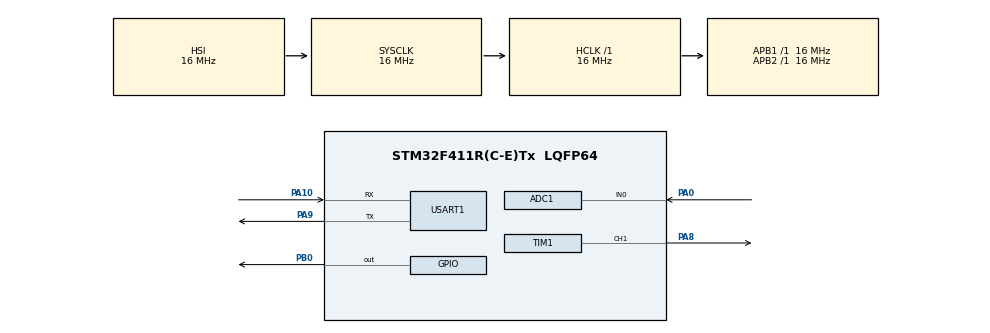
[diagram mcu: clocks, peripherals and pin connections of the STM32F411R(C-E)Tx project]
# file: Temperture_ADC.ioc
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ADC1.Channel-0\#ChannelRegularConversion=ADC_CHANNEL_0
ADC1.NbrOfConversionFlag=1
ADC1.Rank-0\#ChannelRegularConversion=1
ADC1.SamplingTime-0\#ChannelRegularConversion=ADC_SAMPLETIME_3CYCLES
ADC1.master=1
Mcu.Family=STM32F4
Mcu.Name=STM32F411R(C-E)Tx
Mcu.Package=LQFP64
NVIC.PriorityGroup=NVIC_PRIORITYGROUP_4
NVIC.USART1_IRQn=true\:0\:0\:false\:false\:true\:true\:true\:true
PA0-WKUP.Signal=ADCx_IN0
PA10.Mode=Asynchronous
PA10.Signal=USART1_RX
PA8.Signal=S_TIM1_CH1
PA9.Mode=Asynchronous
PA9.Signal=USART1_TX
PB0.Signal=GPIO_Output
ProjectManager.HeapSize=0x200
ProjectManager.StackSize=0x400
ProjectManager.TargetToolchain=STM32CubeIDE
RCC.AHBFreq_Value=16000000
RCC.APB1Freq_Value=16000000
RCC.APB2Freq_Value=16000000
RCC.CortexFreq_Value=16000000
RCC.HSE_VALUE=25000000
RCC.HSI_VALUE=16000000
RCC.LSE_VALUE=32768
RCC.SYSCLKFreq_VALUE=16000000
RCC.VCOOutputFreq_Value=192000000
SH.ADCx_IN0.0=ADC1_IN0,IN0
SH.S_TIM1_CH1.0=TIM1_CH1,PWM Generation1 CH1
TIM1.Channel-PWM\ Generation1\ CH1=TIM_CHANNEL_1
TIM1.Period=999
TIM1.Prescaler=15
USART1.VirtualMode=VM_ASYNC
board=custom

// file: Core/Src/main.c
/* USER CODE BEGIN Header */
/**
  ******************************************************************************
  * @file           : main.c
  * @brief          : Main program body
  ******************************************************************************
  * @attention
  *
  * Copyright (c) 2023 STMicroelectronics.
  * All rights reserved.
  *
  * This software is licensed under terms that can be found in the LICENSE file
  * in the root directory of this software component.
  * If no LICENSE file comes with this software, it is provided AS-IS.
  *
  ******************************************************************************
  */
/* USER CODE END Header */
#include "main.h"

/* USER CODE BEGIN Includes */
#include "uart.h"
#include "filter.h"
/* USER CODE END Includes */

ADC_HandleTypeDef hadc1;

TIM_HandleTypeDef htim1;

UART_HandleTypeDef huart1;

void SystemClock_Config(void);
static void MX_GPIO_Init(void);
static void MX_ADC1_Init(void);
static void MX_USART1_UART_Init(void);
static void MX_TIM1_Init(void);

/* USER CODE BEGIN 0 */
int soundLut[]={131,147,165,175,196,220,247,262}; // 음계 주파수 테이블
void setSound(int freq)  // 소리 함수
{
	htim1.Instance->ARR=1000000/freq-1;  // 주파수 조정
	htim1.Instance->CCR1=htim1.Instance->CNT/2;  //주파수 조정으로 인한 듀티비 재조정
}
/* USER CODE END 0 */

int main(void)
{

  /* MCU Configuration--------------------------------------------------------*/

  /* Reset of all peripherals, Initializes the Flash interface and the Systick. */
  HAL_Init();

  /* Configure the system clock */
  SystemClock_Config();

  /* Initialize all configured peripherals */
  MX_GPIO_Init();
  MX_ADC1_Init();
  MX_USART1_UART_Init();
  MX_TIM1_Init();
  /* USER CODE BEGIN 2 */
  initUart();

  /* USER CODE END 2 */

  /* Infinite loop */
  while (1)
  {

    /* USER CODE BEGIN 3 */
  		HAL_ADC_Start(&hadc1);
  		HAL_ADC_PollForConversion(&hadc1, 1);
  		uint16_t value = HAL_ADC_GetValue(&hadc1);
  		HAL_ADC_Stop(&hadc1);
  		int kalman_value = kalman((double)value);
  		static int up_cnt=0;
  		static int down_cnt=0;

  		/*if(kalman_value > 400)
  			{
  				up_cnt++;
  				HAL_TIM_PWM_Start(&htim1, TIM_CHANNEL_1);;
  			}
  		else
  			{
  				down_cnt++;
  			}
  		if(up_cnt >1 && down_cnt>5)
  			{
  				HAL_TIM_PWM_Stop(&htim1, TIM_CHANNEL_1);
  				HAL_Delay(5000);
  			}*/

  		printf("%d %d %d\n",value,AvgFilter(value),(int)kalman((double)value));
  		HAL_Delay(100);
  }
  /* USER CODE END 3 */
}

void SystemClock_Config(void)
{
  RCC_OscInitTypeDef RCC_OscInitStruct = {0};
  RCC_ClkInitTypeDef RCC_ClkInitStruct = {0};

  /** Configure the main internal regulator output voltage
  */
  __HAL_RCC_PWR_CLK_ENABLE();
  __HAL_PWR_VOLTAGESCALING_CONFIG(PWR_REGULATOR_VOLTAGE_SCALE1);

  /** Initializes the RCC Oscillators according to the specified parameters
  * in the RCC_OscInitTypeDef structure.
  */
  RCC_OscInitStruct.OscillatorType = RCC_OSCILLATORTYPE_HSI;
  RCC_OscInitStruct.HSIState = RCC_HSI_ON;
  RCC_OscInitStruct.HSICalibrationValue = RCC_HSICALIBRATION_DEFAULT;
  RCC_OscInitStruct.PLL.PLLState = RCC_PLL_NONE;
  if (HAL_RCC_OscConfig(&RCC_OscInitStruct) != HAL_OK)
  {
    Error_Handler();
  }

  /** Initializes the CPU, AHB and APB buses clocks
  */
  RCC_ClkInitStruct.ClockType = RCC_CLOCKTYPE_HCLK|RCC_CLOCKTYPE_SYSCLK
                              |RCC_CLOCKTYPE_PCLK1|RCC_CLOCKTYPE_PCLK2;
  RCC_ClkInitStruct.SYSCLKSource = RCC_SYSCLKSOURCE_HSI;
  RCC_ClkInitStruct.AHBCLKDivider = RCC_SYSCLK_DIV1;
  RCC_ClkInitStruct.APB1CLKDivider = RCC_HCLK_DIV1;
  RCC_ClkInitStruct.APB2CLKDivider = RCC_HCLK_DIV1;

  if (HAL_RCC_ClockConfig(&RCC_ClkInitStruct, FLASH_LATENCY_0) != HAL_OK)
  {
    Error_Handler();
  }
}

static void MX_ADC1_Init(void)
{

  ADC_ChannelConfTypeDef sConfig = {0};

  /** Configure the global features of the ADC (Clock, Resolution, Data Alignment and number of conversion)
  */
  hadc1.Instance = ADC1;
  hadc1.Init.ClockPrescaler = ADC_CLOCK_SYNC_PCLK_DIV2;
  hadc1.Init.Resolution = ADC_RESOLUTION_12B;
  hadc1.Init.ScanConvMode = DISABLE;
  hadc1.Init.ContinuousConvMode = DISABLE;
  hadc1.Init.DiscontinuousConvMode = DISABLE;
  hadc1.Init.ExternalTrigConvEdge = ADC_EXTERNALTRIGCONVEDGE_NONE;
  hadc1.Init.ExternalTrigConv = ADC_SOFTWARE_START;
  hadc1.Init.DataAlign = ADC_DATAALIGN_RIGHT;
  hadc1.Init.NbrOfConversion = 1;
  hadc1.Init.DMAContinuousRequests = DISABLE;
  hadc1.Init.EOCSelection = ADC_EOC_SINGLE_CONV;
  if (HAL_ADC_Init(&hadc1) != HAL_OK)
  {
    Error_Handler();
  }

  /** Configure for the selected ADC regular channel its corresponding rank in the sequencer and its sample time.
  */
  sConfig.Channel = ADC_CHANNEL_0;
  sConfig.Rank = 1;
  sConfig.SamplingTime = ADC_SAMPLETIME_3CYCLES;
  if (HAL_ADC_ConfigChannel(&hadc1, &sConfig) != HAL_OK)
  {
    Error_Handler();
  }

}

static void MX_TIM1_Init(void)
{

  TIM_MasterConfigTypeDef sMasterConfig = {0};
  TIM_OC_InitTypeDef sConfigOC = {0};
  TIM_BreakDeadTimeConfigTypeDef sBreakDeadTimeConfig = {0};

  htim1.Instance = TIM1;
  htim1.Init.Prescaler = 15;
  htim1.Init.CounterMode = TIM_COUNTERMODE_UP;
  htim1.Init.Period = 999;
  htim1.Init.ClockDivision = TIM_CLOCKDIVISION_DIV1;
  htim1.Init.RepetitionCounter = 0;
  htim1.Init.AutoReloadPreload = TIM_AUTORELOAD_PRELOAD_DISABLE;
  if (HAL_TIM_PWM_Init(&htim1) != HAL_OK)
  {
    Error_Handler();
  }
  sMasterConfig.MasterOutputTrigger = TIM_TRGO_RESET;
  sMasterConfig.MasterSlaveMode = TIM_MASTERSLAVEMODE_DISABLE;
  if (HAL_TIMEx_MasterConfigSynchronization(&htim1, &sMasterConfig) != HAL_OK)
  {
    Error_Handler();
  }
  sConfigOC.OCMode = TIM_OCMODE_PWM1;
  sConfigOC.Pulse = 0;
  sConfigOC.OCPolarity = TIM_OCPOLARITY_HIGH;
  sConfigOC.OCNPolarity = TIM_OCNPOLARITY_HIGH;
  sConfigOC.OCFastMode = TIM_OCFAST_DISABLE;
  sConfigOC.OCIdleState = TIM_OCIDLESTATE_RESET;
  sConfigOC.OCNIdleState = TIM_OCNIDLESTATE_RESET;
  if (HAL_TIM_PWM_ConfigChannel(&htim1, &sConfigOC, TIM_CHANNEL_1) != HAL_OK)
  {
    Error_Handler();
  }
  sBreakDeadTimeConfig.OffStateRunMode = TIM_OSSR_DISABLE;
  sBreakDeadTimeConfig.OffStateIDLEMode = TIM_OSSI_DISABLE;
  sBreakDeadTimeConfig.LockLevel = TIM_LOCKLEVEL_OFF;
  sBreakDeadTimeConfig.DeadTime = 0;
  sBreakDeadTimeConfig.BreakState = TIM_BREAK_DISABLE;
  sBreakDeadTimeConfig.BreakPolarity = TIM_BREAKPOLARITY_HIGH;
  sBreakDeadTimeConfig.AutomaticOutput = TIM_AUTOMATICOUTPUT_DISABLE;
  if (HAL_TIMEx_ConfigBreakDeadTime(&htim1, &sBreakDeadTimeConfig) != HAL_OK)
  {
    Error_Handler();
  }
  HAL_TIM_MspPostInit(&htim1);

}

static void MX_USART1_UART_Init(void)
{

  huart1.Instance = USART1;
  huart1.Init.BaudRate = 115200;
  huart1.Init.WordLength = UART_WORDLENGTH_8B;
  huart1.Init.StopBits = UART_STOPBITS_1;
  huart1.Init.Parity = UART_PARITY_NONE;
  huart1.Init.Mode = UART_MODE_TX_RX;
  huart1.Init.HwFlowCtl = UART_HWCONTROL_NONE;
  huart1.Init.OverSampling = UART_OVERSAMPLING_16;
  if (HAL_UART_Init(&huart1) != HAL_OK)
  {
    Error_Handler();
  }

}

static void MX_GPIO_Init(void)
{
  GPIO_InitTypeDef GPIO_InitStruct = {0};

  /* GPIO Ports Clock Enable */
  __HAL_RCC_GPIOA_CLK_ENABLE();
  __HAL_RCC_GPIOB_CLK_ENABLE();

  /*Configure GPIO pin Output Level */
  HAL_GPIO_WritePin(GPIOB, GPIO_PIN_0, GPIO_PIN_RESET);

  /*Configure GPIO pin : PB0 */
  GPIO_InitStruct.Pin = GPIO_PIN_0;
  GPIO_InitStruct.Mode = GPIO_MODE_OUTPUT_PP;
  GPIO_InitStruct.Pull = GPIO_NOPULL;
  GPIO_InitStruct.Speed = GPIO_SPEED_FREQ_LOW;
  HAL_GPIO_Init(GPIOB, &GPIO_InitStruct);

}

void Error_Handler(void)
{
  __disable_irq();
  while (1)
  {
  }
}
